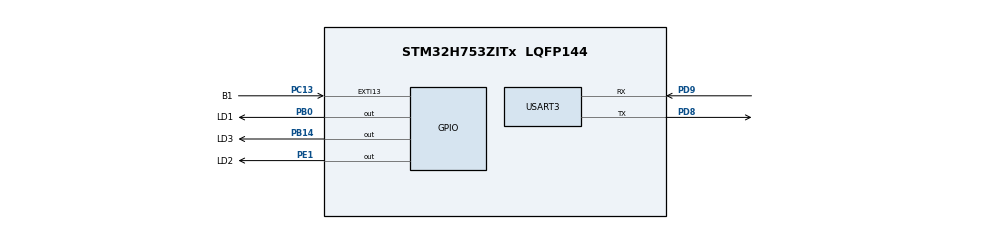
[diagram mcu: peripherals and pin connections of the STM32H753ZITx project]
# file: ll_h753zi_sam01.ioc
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Mcu.Family=STM32H7
Mcu.Name=STM32H753ZITx
Mcu.Package=LQFP144
NVIC.EXTI15_10_IRQn=true\:0\:0\:false\:false\:true\:true\:true\:true
NVIC.PriorityGroup=NVIC_PRIORITYGROUP_4
NVIC.USART3_IRQn=true\:0\:0\:false\:false\:true\:true\:true\:true
PB0.GPIO_Label=LD1
PB0.Signal=GPIO_Output
PB14.GPIO_Label=LD3
PB14.Signal=GPIO_Output
PC13.GPIO_Label=B1
PC13.Signal=GPXTI13
PD8.Mode=Asynchronous
PD8.Signal=USART3_TX
PD9.Mode=Asynchronous
PD9.Signal=USART3_RX
PE1.GPIO_Label=LD2
PE1.Signal=GPIO_Output
ProjectManager.HeapSize=0x200
ProjectManager.StackSize=0x400
ProjectManager.TargetToolchain=STM32CubeIDE
RCC.ADCFreq_Value=129000000
RCC.APB1Freq_Value=120000000
RCC.APB2Freq_Value=120000000
RCC.APB3Freq_Value=120000000
RCC.APB4Freq_Value=120000000
RCC.CortexFreq_Value=480000000
RCC.D1PPRE=RCC_APB3_DIV2
RCC.D2PPRE1=RCC_APB1_DIV2
RCC.D2PPRE2=RCC_APB2_DIV2
RCC.D3PPRE=RCC_APB4_DIV2
RCC.DIVM1=4
RCC.DIVN1=60
RCC.HCLKFreq_Value=240000000
RCC.HPRE=RCC_HCLK_DIV2
RCC.PLLFRACN=0
RCC.SYSCLKFreq_VALUE=480000000
RCC.SYSCLKSource=RCC_SYSCLKSOURCE_PLLCLK
RCC.USBFreq_Value=480000000
USART3.VirtualMode-Asynchronous=VM_ASYNC
VP_MEMORYMAP_VS_MEMORYMAP.Mode=CurAppReg
board=custom

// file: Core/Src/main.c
/* USER CODE BEGIN Header */
/**
  ******************************************************************************
  * @file           : main.c
  * @brief          : Main program body
  ******************************************************************************
  * @attention
  *
  * Copyright (c) 2024 STMicroelectronics.
  * All rights reserved.
  *
  * This software is licensed under terms that can be found in the LICENSE file
  * in the root directory of this software component.
  * If no LICENSE file comes with this software, it is provided AS-IS.
  *
  ******************************************************************************
  */
/* USER CODE END Header */
#include "main.h"

/* USER CODE BEGIN Includes */
#include "drv.h"
#include "lib.h"
/* USER CODE END Includes */

/* USER CODE BEGIN PV */
volatile static uint32_t u32s_CycleTimeCounter;		/* 周期時間カウンター			*/
/* USER CODE END PV */

void SystemClock_Config(void);
static void MX_GPIO_Init(void);
static void MX_USART3_UART_Init(void);

/* USER CODE BEGIN 0 */

/**
  * @brief  SysTickタイマ経過コールバック関数
  * @param  None
  * @retval None
  */
void SYSTICK_PeriodElapsed_Callback(void)
{
	u32s_CycleTimeCounter++;
}

/* USER CODE END 0 */

int main(void)
{

  /* MCU Configuration--------------------------------------------------------*/

  /* Reset of all peripherals, Initializes the Flash interface and the Systick. */
  LL_APB4_GRP1_EnableClock(LL_APB4_GRP1_PERIPH_SYSCFG);

  /* System interrupt init*/
  NVIC_SetPriorityGrouping(NVIC_PRIORITYGROUP_4);

  /* SysTick_IRQn interrupt configuration */
  NVIC_SetPriority(SysTick_IRQn, NVIC_EncodePriority(NVIC_GetPriorityGrouping(),15, 0));

  /* USER CODE BEGIN Init */
	u32s_CycleTimeCounter = 0;
  /* USER CODE END Init */

  /* Configure the system clock */
  SystemClock_Config();

  /* USER CODE BEGIN SysInit */
	/* タイマー初期化処理 */
	taskTimerInit();
  /* USER CODE END SysInit */

  /* Initialize all configured peripherals */
  MX_GPIO_Init();
  MX_USART3_UART_Init();
  /* USER CODE BEGIN 2 */
	/* UARTドライバー初期化処理 */
	taskUartDriverInit();
	/* 初期化関数 */
	setup();

	/* SysTickタイマー開始(1msタイマー割り込み用) */
	LL_SYSTICK_EnableIT();
  /* USER CODE END 2 */

  /* Infinite loop */
  /* USER CODE BEGIN WHILE */
	while (true) {
    /* USER CODE END WHILE */

    /* USER CODE BEGIN 3 */
		/* 周期時間カウンターがシステムの周期時間[ms]に達した場合 */
		if (u32s_CycleTimeCounter >= SYS_CYCLE_TIME) {
			/* Disable Interrupts */
			__disable_irq();
			u32s_CycleTimeCounter = 0;
			/* Enable Interrupts */
			__enable_irq();

			/* タイマー更新処理 */
			taskTimerUpdate();
			/* UARTドライバー入力処理 */
			taskUartDriverInput();
			/* 周期処理関数 */
			loop();
			/* UARTドライバー出力処理 */
			taskUartDriverOutput();
		}
	}
  /* USER CODE END 3 */
}

void SystemClock_Config(void)
{
  LL_FLASH_SetLatency(LL_FLASH_LATENCY_4);
  while(LL_FLASH_GetLatency()!= LL_FLASH_LATENCY_4)
  {
  }
  LL_PWR_ConfigSupply(LL_PWR_LDO_SUPPLY);
  LL_PWR_SetRegulVoltageScaling(LL_PWR_REGU_VOLTAGE_SCALE0);
  while (LL_PWR_IsActiveFlag_VOS() == 0)
  {
  }
  LL_RCC_HSI_Enable();

   /* Wait till HSI is ready */
  while(LL_RCC_HSI_IsReady() != 1)
  {

  }
  LL_RCC_HSI_SetCalibTrimming(64);
  LL_RCC_HSI_SetDivider(LL_RCC_HSI_DIV1);
  LL_RCC_PLL_SetSource(LL_RCC_PLLSOURCE_HSI);
  LL_RCC_PLL1P_Enable();
  LL_RCC_PLL1_SetVCOInputRange(LL_RCC_PLLINPUTRANGE_8_16);
  LL_RCC_PLL1_SetVCOOutputRange(LL_RCC_PLLVCORANGE_WIDE);
  LL_RCC_PLL1_SetM(4);
  LL_RCC_PLL1_SetN(60);
  LL_RCC_PLL1_SetP(2);
  LL_RCC_PLL1_SetQ(2);
  LL_RCC_PLL1_SetR(2);
  LL_RCC_PLL1_Enable();

   /* Wait till PLL is ready */
  while(LL_RCC_PLL1_IsReady() != 1)
  {
  }

   /* Intermediate AHB prescaler 2 when target frequency clock is higher than 80 MHz */
   LL_RCC_SetAHBPrescaler(LL_RCC_AHB_DIV_2);

  LL_RCC_SetSysClkSource(LL_RCC_SYS_CLKSOURCE_PLL1);

   /* Wait till System clock is ready */
  while(LL_RCC_GetSysClkSource() != LL_RCC_SYS_CLKSOURCE_STATUS_PLL1)
  {

  }
  LL_RCC_SetSysPrescaler(LL_RCC_SYSCLK_DIV_1);
  LL_RCC_SetAHBPrescaler(LL_RCC_AHB_DIV_2);
  LL_RCC_SetAPB1Prescaler(LL_RCC_APB1_DIV_2);
  LL_RCC_SetAPB2Prescaler(LL_RCC_APB2_DIV_2);
  LL_RCC_SetAPB3Prescaler(LL_RCC_APB3_DIV_2);
  LL_RCC_SetAPB4Prescaler(LL_RCC_APB4_DIV_2);

  LL_Init1msTick(480000000);

  LL_SetSystemCoreClock(480000000);
}

static void MX_USART3_UART_Init(void)
{

  LL_USART_InitTypeDef USART_InitStruct = {0};

  LL_GPIO_InitTypeDef GPIO_InitStruct = {0};

  LL_RCC_SetUSARTClockSource(LL_RCC_USART234578_CLKSOURCE_PCLK1);

  /* Peripheral clock enable */
  LL_APB1_GRP1_EnableClock(LL_APB1_GRP1_PERIPH_USART3);

  LL_AHB4_GRP1_EnableClock(LL_AHB4_GRP1_PERIPH_GPIOD);
  /**USART3 GPIO Configuration
  PD8   ------> USART3_TX
  PD9   ------> USART3_RX
  */
  GPIO_InitStruct.Pin = LL_GPIO_PIN_8|LL_GPIO_PIN_9;
  GPIO_InitStruct.Mode = LL_GPIO_MODE_ALTERNATE;
  GPIO_InitStruct.Speed = LL_GPIO_SPEED_FREQ_LOW;
  GPIO_InitStruct.OutputType = LL_GPIO_OUTPUT_PUSHPULL;
  GPIO_InitStruct.Pull = LL_GPIO_PULL_NO;
  GPIO_InitStruct.Alternate = LL_GPIO_AF_7;
  LL_GPIO_Init(GPIOD, &GPIO_InitStruct);

  /* USART3 interrupt Init */
  NVIC_SetPriority(USART3_IRQn, NVIC_EncodePriority(NVIC_GetPriorityGrouping(),0, 0));
  NVIC_EnableIRQ(USART3_IRQn);

  USART_InitStruct.PrescalerValue = LL_USART_PRESCALER_DIV1;
  USART_InitStruct.BaudRate = 115200;
  USART_InitStruct.DataWidth = LL_USART_DATAWIDTH_8B;
  USART_InitStruct.StopBits = LL_USART_STOPBITS_1;
  USART_InitStruct.Parity = LL_USART_PARITY_NONE;
  USART_InitStruct.TransferDirection = LL_USART_DIRECTION_TX_RX;
  USART_InitStruct.HardwareFlowControl = LL_USART_HWCONTROL_NONE;
  USART_InitStruct.OverSampling = LL_USART_OVERSAMPLING_16;
  LL_USART_Init(USART3, &USART_InitStruct);
  LL_USART_SetTXFIFOThreshold(USART3, LL_USART_FIFOTHRESHOLD_1_8);
  LL_USART_SetRXFIFOThreshold(USART3, LL_USART_FIFOTHRESHOLD_1_8);
  LL_USART_DisableFIFO(USART3);
  LL_USART_ConfigAsyncMode(USART3);

  LL_USART_Enable(USART3);

  /* Polling USART3 initialisation */
  while((!(LL_USART_IsActiveFlag_TEACK(USART3))) || (!(LL_USART_IsActiveFlag_REACK(USART3))))
  {
  }

}

static void MX_GPIO_Init(void)
{
  LL_EXTI_InitTypeDef EXTI_InitStruct = {0};
  LL_GPIO_InitTypeDef GPIO_InitStruct = {0};

  /* GPIO Ports Clock Enable */
  LL_AHB4_GRP1_EnableClock(LL_AHB4_GRP1_PERIPH_GPIOC);
  LL_AHB4_GRP1_EnableClock(LL_AHB4_GRP1_PERIPH_GPIOB);
  LL_AHB4_GRP1_EnableClock(LL_AHB4_GRP1_PERIPH_GPIOD);
  LL_AHB4_GRP1_EnableClock(LL_AHB4_GRP1_PERIPH_GPIOE);

  /**/
  LL_GPIO_ResetOutputPin(GPIOB, LD1_Pin|LD3_Pin);

  /**/
  LL_GPIO_ResetOutputPin(LD2_GPIO_Port, LD2_Pin);

  /**/
  LL_SYSCFG_SetEXTISource(LL_SYSCFG_EXTI_PORTC, LL_SYSCFG_EXTI_LINE13);

  /**/
  EXTI_InitStruct.Line_0_31 = LL_EXTI_LINE_13;
  EXTI_InitStruct.Line_32_63 = LL_EXTI_LINE_NONE;
  EXTI_InitStruct.Line_64_95 = LL_EXTI_LINE_NONE;
  EXTI_InitStruct.LineCommand = ENABLE;
  EXTI_InitStruct.Mode = LL_EXTI_MODE_IT;
  EXTI_InitStruct.Trigger = LL_EXTI_TRIGGER_RISING;
  LL_EXTI_Init(&EXTI_InitStruct);

  /**/
  LL_GPIO_SetPinPull(B1_GPIO_Port, B1_Pin, LL_GPIO_PULL_NO);

  /**/
  LL_GPIO_SetPinMode(B1_GPIO_Port, B1_Pin, LL_GPIO_MODE_INPUT);

  /**/
  GPIO_InitStruct.Pin = LD1_Pin|LD3_Pin;
  GPIO_InitStruct.Mode = LL_GPIO_MODE_OUTPUT;
  GPIO_InitStruct.Speed = LL_GPIO_SPEED_FREQ_LOW;
  GPIO_InitStruct.OutputType = LL_GPIO_OUTPUT_PUSHPULL;
  GPIO_InitStruct.Pull = LL_GPIO_PULL_NO;
  LL_GPIO_Init(GPIOB, &GPIO_InitStruct);

  /**/
  GPIO_InitStruct.Pin = LD2_Pin;
  GPIO_InitStruct.Mode = LL_GPIO_MODE_OUTPUT;
  GPIO_InitStruct.Speed = LL_GPIO_SPEED_FREQ_LOW;
  GPIO_InitStruct.OutputType = LL_GPIO_OUTPUT_PUSHPULL;
  GPIO_InitStruct.Pull = LL_GPIO_PULL_NO;
  LL_GPIO_Init(LD2_GPIO_Port, &GPIO_InitStruct);

  /* EXTI interrupt init*/
  NVIC_SetPriority(EXTI15_10_IRQn, NVIC_EncodePriority(NVIC_GetPriorityGrouping(),0, 0));
  NVIC_EnableIRQ(EXTI15_10_IRQn);

}

void Error_Handler(void)
{
  __disable_irq();
  while (1)
  {
  }
}
